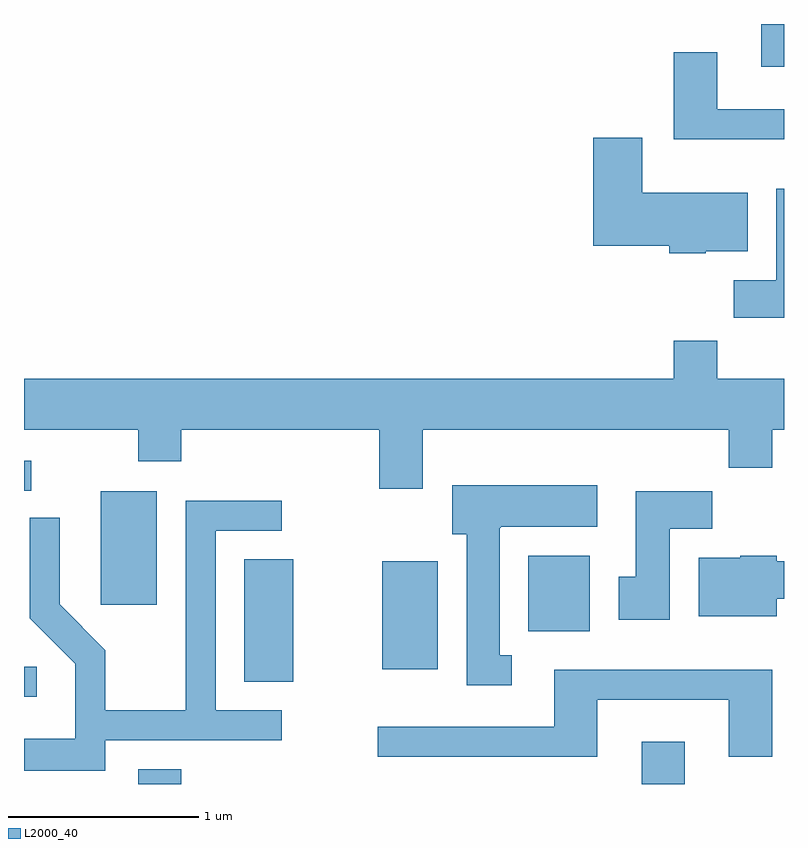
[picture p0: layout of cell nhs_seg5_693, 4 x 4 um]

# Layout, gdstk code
import gdstk
lib = gdstk.Library(unit=1e-6, precision=1e-09)
def R(c, l, rs):  # rectangles x0, y0, x1, y1
    for r in rs: c.add(gdstk.rectangle(r[:2], r[2:], *l))
def P(c, l, *ps):  # polygons
    for p in ps: c.add(gdstk.Polygon(p, *l))
L2000_40 = (2000, 40)

nhs_seg5_693 = lib.new_cell('nhs_seg5_693')
R(nhs_seg5_693, L2000_40, [(206.211,1426.072,206.439,1426.149), (208.861,1426.072,209.089,1426.294), (205.611,1426.531,205.678,1426.689), (206.771,1426.611,207.029,1427.254), (207.496,1426.676,207.789,1427.244), (208.266,1426.876,208.589,1427.274), (206.016,1427.016,206.309,1427.614), (205.611,1427.616,205.648,1427.774), (209.491,1429.846,209.611,1430.072)])
P(nhs_seg5_693, L2000_40, [(209.611,1429.624),(209.259,1429.624),(209.259,1429.924),(209.031,1429.924),(209.031,1429.466),(209.611,1429.466)],
  [(209.2,1428.876),(209.419,1428.876),(209.419,1429.184),(208.864,1429.184),(208.864,1429.474),(208.606,1429.474),(208.606,1428.906),(209.006,1428.906),(209.006,1428.866),(209.2,1428.866)],
  [(209.611,1429.204),(209.571,1429.204),(209.571,1428.724),(209.346,1428.724),(209.346,1428.526),(209.611,1428.526)],
  [(207.709,1427.936),(209.321,1427.936),(209.321,1427.736),(209.549,1427.736),(209.549,1427.936),(209.611,1427.936),(209.611,1428.204),(209.259,1428.204),(209.259,1428.404),(209.031,1428.404),(209.031,1428.204),(205.611,1428.204),(205.611,1427.936),(206.211,1427.936),(206.211,1427.771),(206.439,1427.771),(206.439,1427.936),(207.481,1427.936),(207.481,1427.626),(207.709,1427.626)],
  [(208.178,1426.749),(208.114,1426.749),(208.114,1427.42),(208.12,1427.42),(208.12,1427.426),(208.629,1427.426),(208.629,1427.644),(207.866,1427.644),(207.866,1427.386),(207.941,1427.386),(207.941,1426.591),(208.178,1426.591)],
  [(209.009,1427.416),(209.234,1427.416),(209.234,1427.614),(208.831,1427.614),(208.831,1427.164),(208.741,1427.164),(208.741,1426.936),(209.009,1426.936)],
  [(206.039,1426.301),(206.968,1426.301),(206.968,1426.459),(206.619,1426.459),(206.619,1427.406),(206.968,1427.406),(206.968,1427.564),(206.461,1427.564),(206.461,1426.459),(206.039,1426.459),(206.039,1426.777),(205.799,1427.017),(205.799,1427.473),(205.641,1427.473),(205.641,1426.944),(205.881,1426.704),(205.881,1426.309),(205.611,1426.309),(205.611,1426.141),(206.039,1426.141)],
  [(209.574,1427.046),(209.611,1427.046),(209.611,1427.244),(209.574,1427.244),(209.574,1427.274),(209.38,1427.274),(209.38,1427.264),(209.161,1427.264),(209.161,1426.956),(209.574,1426.956)],
  [(208.629,1426.516),(209.321,1426.516),(209.321,1426.216),(209.549,1426.216),(209.549,1426.674),(208.401,1426.674),(208.401,1426.374),(207.473,1426.374),(207.473,1426.216),(208.629,1426.216)])

lib.write_gds('nhs_seg5_693.gds')
